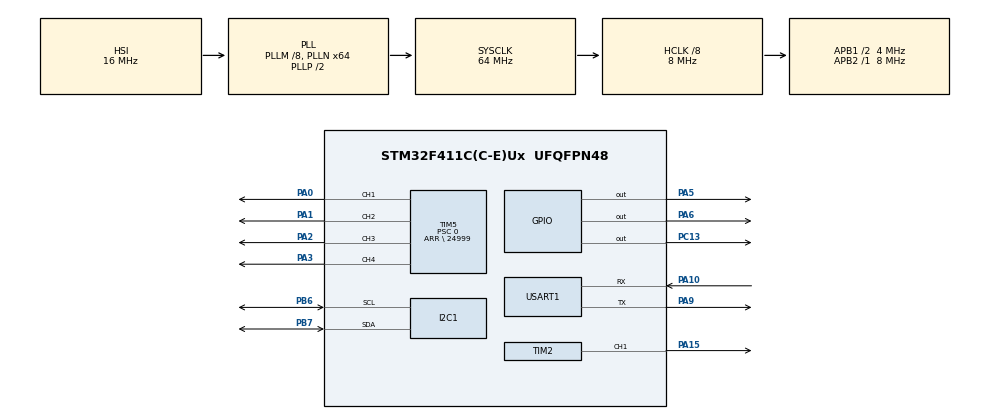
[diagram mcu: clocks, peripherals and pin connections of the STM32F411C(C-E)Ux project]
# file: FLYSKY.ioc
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Dma.I2C1_RX.0.Direction=DMA_PERIPH_TO_MEMORY
Dma.I2C1_RX.0.FIFOMode=DMA_FIFOMODE_DISABLE
Dma.I2C1_RX.0.Instance=DMA1_Stream0
Dma.I2C1_RX.0.MemDataAlignment=DMA_MDATAALIGN_BYTE
Dma.I2C1_RX.0.MemInc=DMA_MINC_ENABLE
Dma.I2C1_RX.0.Mode=DMA_CIRCULAR
Dma.I2C1_RX.0.PeriphDataAlignment=DMA_PDATAALIGN_BYTE
Dma.I2C1_RX.0.PeriphInc=DMA_PINC_DISABLE
Dma.I2C1_RX.0.Priority=DMA_PRIORITY_LOW
Dma.Request0=I2C1_RX
Mcu.Family=STM32F4
Mcu.Name=STM32F411C(C-E)Ux
Mcu.Package=UFQFPN48
NVIC.DMA1_Stream0_IRQn=true\:0\:0\:false\:false\:true\:false\:true\:true
NVIC.I2C1_ER_IRQn=true\:0\:0\:false\:false\:true\:true\:true\:true
NVIC.I2C1_EV_IRQn=true\:0\:0\:false\:false\:true\:true\:true\:true
NVIC.PriorityGroup=NVIC_PRIORITYGROUP_4
NVIC.USART1_IRQn=true\:0\:0\:false\:false\:true\:true\:true\:true
PA0-WKUP.Signal=S_TIM5_CH1
PA1.Signal=S_TIM5_CH2
PA10.Mode=Asynchronous
PA10.Signal=USART1_RX
PA13.Mode=Serial_Wire
PA13.Signal=SYS_JTMS-SWDIO
PA14.Mode=Serial_Wire
PA14.Signal=SYS_JTCK-SWCLK
PA15.Signal=S_TIM2_CH1_ETR
PA2.Signal=S_TIM5_CH3
PA3.Signal=S_TIM5_CH4
PA5.PinState=GPIO_PIN_SET
PA5.Signal=GPIO_Output
PA6.PinState=GPIO_PIN_SET
PA6.Signal=GPIO_Output
PA9.Mode=Asynchronous
PA9.Signal=USART1_TX
PB6.Mode=I2C
PB6.Signal=I2C1_SCL
PB7.Mode=I2C
PB7.Signal=I2C1_SDA
PC13-ANTI_TAMP.PinState=GPIO_PIN_SET
PC13-ANTI_TAMP.Signal=GPIO_Output
ProjectManager.HeapSize=0x200
ProjectManager.StackSize=0x400
ProjectManager.TargetToolchain=STM32CubeIDE
RCC.48MHZClocksFreq_Value=32000000
RCC.AHBCLKDivider=RCC_SYSCLK_DIV8
RCC.AHBFreq_Value=8000000
RCC.APB1CLKDivider=RCC_HCLK_DIV2
RCC.APB1Freq_Value=4000000
RCC.APB1TimFreq_Value=8000000
RCC.APB2Freq_Value=8000000
RCC.APB2TimFreq_Value=8000000
RCC.CortexFreq_Value=8000000
RCC.HCLKFreq_Value=8000000
RCC.HSE_VALUE=25000000
RCC.HSI_VALUE=16000000
RCC.LSE_VALUE=32768
RCC.PLLM=8
RCC.PLLN=64
RCC.SYSCLKFreq_VALUE=64000000
RCC.SYSCLKSource=RCC_SYSCLKSOURCE_PLLCLK
RCC.VCOOutputFreq_Value=128000000
SH.S_TIM2_CH1_ETR.0=TIM2_CH1,PWM Generation1 CH1
SH.S_TIM5_CH1.0=TIM5_CH1,PWM Generation1 CH1
SH.S_TIM5_CH2.0=TIM5_CH2,PWM Generation2 CH2
SH.S_TIM5_CH3.0=TIM5_CH3,PWM Generation3 CH3
SH.S_TIM5_CH4.0=TIM5_CH4,PWM Generation4 CH4
TIM2.AutoReloadPreload=TIM_AUTORELOAD_PRELOAD_ENABLE
TIM2.Channel-PWM\ Generation1\ CH1=TIM_CHANNEL_1
TIM2.Period=199
TIM2.Prescaler=799
TIM5.AutoReloadPreload=TIM_AUTORELOAD_PRELOAD_ENABLE
TIM5.Channel-PWM\ Generation1\ CH1=TIM_CHANNEL_1
TIM5.Channel-PWM\ Generation2\ CH2=TIM_CHANNEL_2
TIM5.Channel-PWM\ Generation3\ CH3=TIM_CHANNEL_3
TIM5.Channel-PWM\ Generation4\ CH4=TIM_CHANNEL_4
TIM5.OCFastMode_PWM-PWM\ Generation1\ CH1=TIM_OCFAST_ENABLE
TIM5.OCFastMode_PWM-PWM\ Generation2\ CH2=TIM_OCFAST_ENABLE
TIM5.OCFastMode_PWM-PWM\ Generation3\ CH3=TIM_OCFAST_ENABLE
TIM5.OCFastMode_PWM-PWM\ Generation4\ CH4=TIM_OCFAST_ENABLE
TIM5.Period=\ 24999
TIM5.Prescaler=0
TIM5.Pulse-PWM\ Generation1\ CH1=0
TIM5.Pulse-PWM\ Generation2\ CH2=0
TIM5.Pulse-PWM\ Generation3\ CH3=0
USART1.VirtualMode=VM_ASYNC
VP_TIM5_VS_ClockSourceINT.Mode=Internal
board=custom

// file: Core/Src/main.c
/* USER CODE BEGIN Header */
/**
  ******************************************************************************
  * @file           : main.c
  * @brief          : Main program body
  ******************************************************************************
  * @attention
  *
  * Copyright (c) 2025 STMicroelectronics.
  * All rights reserved.
  *
  * This software is licensed under terms that can be found in the LICENSE file
  * in the root directory of this software component.
  * If no LICENSE file comes with this software, it is provided AS-IS.
  *
  ******************************************************************************
  */
/* USER CODE END Header */
#include "main.h"

/* USER CODE BEGIN Includes */
#include "FS_IA10B.h"
//#include "MPU6050.h"
/* USER CODE END Includes */

I2C_HandleTypeDef hi2c1;
DMA_HandleTypeDef hdma_i2c1_rx;

TIM_HandleTypeDef htim2;

UART_HandleTypeDef huart1;

/* USER CODE BEGIN PV */
extern uint8_t usart2_rx_data;
extern uint8_t usart2_rx_flag;

extern uint8_t ibus_rx_buf[32];
extern uint8_t ibus_rx_cplt_flag;

/* USER CODE END PV */

void SystemClock_Config(void);
static void MX_GPIO_Init(void);
static void MX_DMA_Init(void);
static void MX_USART1_UART_Init(void);
static void MX_TIM5_Init(void);
static void MX_I2C1_Init(void);
static void MX_TIM2_Init(void);

int main(void)
{

  /* MCU Configuration--------------------------------------------------------*/

  /* Reset of all peripherals, Initializes the Flash interface and the Systick. */
  HAL_Init();

  /* Configure the system clock */
  SystemClock_Config();

  /* Initialize all configured peripherals */
  MX_GPIO_Init();
  MX_DMA_Init();
  MX_USART1_UART_Init();
  MX_TIM5_Init();
  MX_I2C1_Init();
  MX_TIM2_Init();
  /* USER CODE BEGIN 2 */

  //LL_USART_EnableIT_RXNE(USART1);
  //LL_USART_EnableIT_RXNE(USART2);
 __HAL_UART_ENABLE_IT(&huart1, UART_IT_RXNE);

  LL_TIM_EnableCounter(TIM5);
  LL_TIM_CC_EnableChannel(TIM5, LL_TIM_CHANNEL_CH1);
  LL_TIM_CC_EnableChannel(TIM5, LL_TIM_CHANNEL_CH2);
  LL_TIM_CC_EnableChannel(TIM5, LL_TIM_CHANNEL_CH3);
  LL_TIM_CC_EnableChannel(TIM5, LL_TIM_CHANNEL_CH4);

  LL_TIM_EnableCounter(TIM2);
  LL_TIM_CC_EnableChannel(TIM2, LL_TIM_CHANNEL_CH1);
  // ESC Calibration
  TIM2 -> CCR1 = 20;
  TIM5 -> CCR2 = 12500;
  TIM5 -> CCR3 = 12500;
  TIM5 -> CCR4 = 12500;

//  TIM5 -> CCR1 = 200;
//  TIM5 -> CCR2 = 200;
//  TIM5 -> CCR3 = 200;
//  TIM5 -> CCR4 = 200;
  HAL_Delay(7000);

  TIM2 -> CCR1 = 10;
  TIM5 -> CCR2 = 6250;
  TIM5 -> CCR3 = 6250;
  TIM5 -> CCR4 = 6250;

//  TIM5 -> CCR1 = 100;
//  TIM5 -> CCR2 = 100;
//  TIM5 -> CCR3 = 100;
//  TIM5 -> CCR4 = 100;
  HAL_Delay(8000);

  /* USER CODE END 2 */

  /* Infinite loop */
  /* USER CODE BEGIN WHILE */
  HAL_GPIO_WritePin(GPIOA, GPIO_PIN_5, 0);
  HAL_GPIO_WritePin(GPIOA, GPIO_PIN_6, 0);
  while (1)
  {
    /* USER CODE END WHILE */

    /* USER CODE BEGIN 3 */
	  if(ibus_rx_cplt_flag == 1)
	  	  		{
	  	  			ibus_rx_cplt_flag = 0;

	  	  			if(ibus_check_CS(&ibus_rx_buf[0], 32) == 1)
	  	  			{
	  	  				HAL_GPIO_WritePin(GPIOA, GPIO_PIN_6, 1);
	  	  				HAL_Delay(100);
	  //	  				HAL_GPIO_TogglePin(GPIOA, GPIO_PIN_5);
	  	  				ibus_message(&ibus_rx_buf[0], &ibus);

	  	  				if(ibus_active_failsafe(&ibus) == 1)
	  	  				{
	  	  					HAL_GPIO_WritePin(GPIOA, GPIO_PIN_5, 1);
	  	  					//HAL_GPIO_WritePin(GPIOC, GPIO_PIN_14, 1);
	  	  				}
	  	  				else
	  	  				{
	  	  					HAL_GPIO_WritePin(GPIOA, GPIO_PIN_5, 0);
	  	  					//HAL_GPIO_WritePin(GPIOC, GPIO_PIN_14, 0);
	  	  				}
	  	  			}
	  	  			else
	  	  			{
	  	  				HAL_GPIO_WritePin(GPIOA, GPIO_PIN_6, 0);
	  	  			}
	  	  		}

	  	  TIM2 -> CCR1 = 10 + (ibus.left_horizontal - 1000 + 15) / 100;
	  	  TIM5 -> CCR2 = 6250 + (ibus.left_horizontal - 1000) * 6.25;
	  	  TIM5 -> CCR3 = 6250 + (ibus.left_horizontal - 1000) * 6.25;
	  	  TIM5 -> CCR4 = 6250 + (ibus.left_horizontal - 1000) * 6.25;

//	  	  MPUcheck();
//	  	  MPU6050_read_gyro();
//	  	  MPU6050_read_acc();
//	  	  HAL_Delay(100);

  }
  /* USER CODE END 3 */
}

void SystemClock_Config(void)
{
  RCC_OscInitTypeDef RCC_OscInitStruct = {0};
  RCC_ClkInitTypeDef RCC_ClkInitStruct = {0};

  /** Configure the main internal regulator output voltage
  */
  __HAL_RCC_PWR_CLK_ENABLE();
  __HAL_PWR_VOLTAGESCALING_CONFIG(PWR_REGULATOR_VOLTAGE_SCALE1);

  /** Initializes the RCC Oscillators according to the specified parameters
  * in the RCC_OscInitTypeDef structure.
  */
  RCC_OscInitStruct.OscillatorType = RCC_OSCILLATORTYPE_HSI;
  RCC_OscInitStruct.HSIState = RCC_HSI_ON;
  RCC_OscInitStruct.HSICalibrationValue = RCC_HSICALIBRATION_DEFAULT;
  RCC_OscInitStruct.PLL.PLLState = RCC_PLL_ON;
  RCC_OscInitStruct.PLL.PLLSource = RCC_PLLSOURCE_HSI;
  RCC_OscInitStruct.PLL.PLLM = 8;
  RCC_OscInitStruct.PLL.PLLN = 64;
  RCC_OscInitStruct.PLL.PLLP = RCC_PLLP_DIV2;
  RCC_OscInitStruct.PLL.PLLQ = 4;
  if (HAL_RCC_OscConfig(&RCC_OscInitStruct) != HAL_OK)
  {
    Error_Handler();
  }

  /** Initializes the CPU, AHB and APB buses clocks
  */
  RCC_ClkInitStruct.ClockType = RCC_CLOCKTYPE_HCLK|RCC_CLOCKTYPE_SYSCLK
                              |RCC_CLOCKTYPE_PCLK1|RCC_CLOCKTYPE_PCLK2;
  RCC_ClkInitStruct.SYSCLKSource = RCC_SYSCLKSOURCE_PLLCLK;
  RCC_ClkInitStruct.AHBCLKDivider = RCC_SYSCLK_DIV8;
  RCC_ClkInitStruct.APB1CLKDivider = RCC_HCLK_DIV2;
  RCC_ClkInitStruct.APB2CLKDivider = RCC_HCLK_DIV1;

  if (HAL_RCC_ClockConfig(&RCC_ClkInitStruct, FLASH_LATENCY_0) != HAL_OK)
  {
    Error_Handler();
  }
}

static void MX_I2C1_Init(void)
{

  hi2c1.Instance = I2C1;
  hi2c1.Init.ClockSpeed = 100000;
  hi2c1.Init.DutyCycle = I2C_DUTYCYCLE_2;
  hi2c1.Init.OwnAddress1 = 0;
  hi2c1.Init.AddressingMode = I2C_ADDRESSINGMODE_7BIT;
  hi2c1.Init.DualAddressMode = I2C_DUALADDRESS_DISABLE;
  hi2c1.Init.OwnAddress2 = 0;
  hi2c1.Init.GeneralCallMode = I2C_GENERALCALL_DISABLE;
  hi2c1.Init.NoStretchMode = I2C_NOSTRETCH_DISABLE;
  if (HAL_I2C_Init(&hi2c1) != HAL_OK)
  {
    Error_Handler();
  }

}

static void MX_TIM2_Init(void)
{

  TIM_MasterConfigTypeDef sMasterConfig = {0};
  TIM_OC_InitTypeDef sConfigOC = {0};

  htim2.Instance = TIM2;
  htim2.Init.Prescaler = 799;
  htim2.Init.CounterMode = TIM_COUNTERMODE_UP;
  htim2.Init.Period = 199;
  htim2.Init.ClockDivision = TIM_CLOCKDIVISION_DIV1;
  htim2.Init.AutoReloadPreload = TIM_AUTORELOAD_PRELOAD_ENABLE;
  if (HAL_TIM_PWM_Init(&htim2) != HAL_OK)
  {
    Error_Handler();
  }
  sMasterConfig.MasterOutputTrigger = TIM_TRGO_RESET;
  sMasterConfig.MasterSlaveMode = TIM_MASTERSLAVEMODE_DISABLE;
  if (HAL_TIMEx_MasterConfigSynchronization(&htim2, &sMasterConfig) != HAL_OK)
  {
    Error_Handler();
  }
  sConfigOC.OCMode = TIM_OCMODE_PWM1;
  sConfigOC.Pulse = 0;
  sConfigOC.OCPolarity = TIM_OCPOLARITY_HIGH;
  sConfigOC.OCFastMode = TIM_OCFAST_DISABLE;
  if (HAL_TIM_PWM_ConfigChannel(&htim2, &sConfigOC, TIM_CHANNEL_1) != HAL_OK)
  {
    Error_Handler();
  }
  HAL_TIM_MspPostInit(&htim2);

}

static void MX_TIM5_Init(void)
{

  LL_TIM_InitTypeDef TIM_InitStruct = {0};
  LL_TIM_OC_InitTypeDef TIM_OC_InitStruct = {0};

  LL_GPIO_InitTypeDef GPIO_InitStruct = {0};

  /* Peripheral clock enable */
  LL_APB1_GRP1_EnableClock(LL_APB1_GRP1_PERIPH_TIM5);

  TIM_InitStruct.Prescaler = 0;
  TIM_InitStruct.CounterMode = LL_TIM_COUNTERMODE_UP;
  TIM_InitStruct.Autoreload = 24999;
  TIM_InitStruct.ClockDivision = LL_TIM_CLOCKDIVISION_DIV1;
  LL_TIM_Init(TIM5, &TIM_InitStruct);
  LL_TIM_EnableARRPreload(TIM5);
  LL_TIM_SetClockSource(TIM5, LL_TIM_CLOCKSOURCE_INTERNAL);
  LL_TIM_OC_EnablePreload(TIM5, LL_TIM_CHANNEL_CH1);
  TIM_OC_InitStruct.OCMode = LL_TIM_OCMODE_PWM1;
  TIM_OC_InitStruct.OCState = LL_TIM_OCSTATE_DISABLE;
  TIM_OC_InitStruct.OCNState = LL_TIM_OCSTATE_DISABLE;
  TIM_OC_InitStruct.CompareValue = 0;
  TIM_OC_InitStruct.OCPolarity = LL_TIM_OCPOLARITY_HIGH;
  LL_TIM_OC_Init(TIM5, LL_TIM_CHANNEL_CH1, &TIM_OC_InitStruct);
  LL_TIM_OC_EnableFast(TIM5, LL_TIM_CHANNEL_CH1);
  LL_TIM_OC_EnablePreload(TIM5, LL_TIM_CHANNEL_CH2);
  LL_TIM_OC_Init(TIM5, LL_TIM_CHANNEL_CH2, &TIM_OC_InitStruct);
  LL_TIM_OC_EnableFast(TIM5, LL_TIM_CHANNEL_CH2);
  LL_TIM_OC_EnablePreload(TIM5, LL_TIM_CHANNEL_CH3);
  LL_TIM_OC_Init(TIM5, LL_TIM_CHANNEL_CH3, &TIM_OC_InitStruct);
  LL_TIM_OC_EnableFast(TIM5, LL_TIM_CHANNEL_CH3);
  LL_TIM_OC_EnablePreload(TIM5, LL_TIM_CHANNEL_CH4);
  LL_TIM_OC_Init(TIM5, LL_TIM_CHANNEL_CH4, &TIM_OC_InitStruct);
  LL_TIM_OC_EnableFast(TIM5, LL_TIM_CHANNEL_CH4);
  LL_TIM_SetTriggerOutput(TIM5, LL_TIM_TRGO_RESET);
  LL_TIM_DisableMasterSlaveMode(TIM5);
  LL_AHB1_GRP1_EnableClock(LL_AHB1_GRP1_PERIPH_GPIOA);
  /**TIM5 GPIO Configuration
  PA0-WKUP   ------> TIM5_CH1
  PA1   ------> TIM5_CH2
  PA2   ------> TIM5_CH3
  PA3   ------> TIM5_CH4
  */
  GPIO_InitStruct.Pin = LL_GPIO_PIN_0|LL_GPIO_PIN_1|LL_GPIO_PIN_2|LL_GPIO_PIN_3;
  GPIO_InitStruct.Mode = LL_GPIO_MODE_ALTERNATE;
  GPIO_InitStruct.Speed = LL_GPIO_SPEED_FREQ_LOW;
  GPIO_InitStruct.OutputType = LL_GPIO_OUTPUT_PUSHPULL;
  GPIO_InitStruct.Pull = LL_GPIO_PULL_NO;
  GPIO_InitStruct.Alternate = LL_GPIO_AF_2;
  LL_GPIO_Init(GPIOA, &GPIO_InitStruct);

}

static void MX_USART1_UART_Init(void)
{

  huart1.Instance = USART1;
  huart1.Init.BaudRate = 115200;
  huart1.Init.WordLength = UART_WORDLENGTH_8B;
  huart1.Init.StopBits = UART_STOPBITS_1;
  huart1.Init.Parity = UART_PARITY_NONE;
  huart1.Init.Mode = UART_MODE_TX_RX;
  huart1.Init.HwFlowCtl = UART_HWCONTROL_NONE;
  huart1.Init.OverSampling = UART_OVERSAMPLING_16;
  if (HAL_UART_Init(&huart1) != HAL_OK)
  {
    Error_Handler();
  }

}

static void MX_DMA_Init(void)
{

  /* DMA controller clock enable */
  __HAL_RCC_DMA1_CLK_ENABLE();

  /* DMA interrupt init */
  /* DMA1_Stream0_IRQn interrupt configuration */
  HAL_NVIC_SetPriority(DMA1_Stream0_IRQn, 0, 0);
  HAL_NVIC_EnableIRQ(DMA1_Stream0_IRQn);

}

static void MX_GPIO_Init(void)
{
  GPIO_InitTypeDef GPIO_InitStruct = {0};

  /* GPIO Ports Clock Enable */
  __HAL_RCC_GPIOC_CLK_ENABLE();
  __HAL_RCC_GPIOA_CLK_ENABLE();
  __HAL_RCC_GPIOB_CLK_ENABLE();

  /*Configure GPIO pin Output Level */
  HAL_GPIO_WritePin(GPIOC, GPIO_PIN_13, GPIO_PIN_SET);

  /*Configure GPIO pin Output Level */
  HAL_GPIO_WritePin(GPIOA, GPIO_PIN_5|GPIO_PIN_6, GPIO_PIN_SET);

  /*Configure GPIO pin : PC13 */
  GPIO_InitStruct.Pin = GPIO_PIN_13;
  GPIO_InitStruct.Mode = GPIO_MODE_OUTPUT_PP;
  GPIO_InitStruct.Pull = GPIO_NOPULL;
  GPIO_InitStruct.Speed = GPIO_SPEED_FREQ_LOW;
  HAL_GPIO_Init(GPIOC, &GPIO_InitStruct);

  /*Configure GPIO pins : PA5 PA6 */
  GPIO_InitStruct.Pin = GPIO_PIN_5|GPIO_PIN_6;
  GPIO_InitStruct.Mode = GPIO_MODE_OUTPUT_PP;
  GPIO_InitStruct.Pull = GPIO_NOPULL;
  GPIO_InitStruct.Speed = GPIO_SPEED_FREQ_LOW;
  HAL_GPIO_Init(GPIOA, &GPIO_InitStruct);

}

void Error_Handler(void)
{
  __disable_irq();
  while (1)
  {
  }
}
